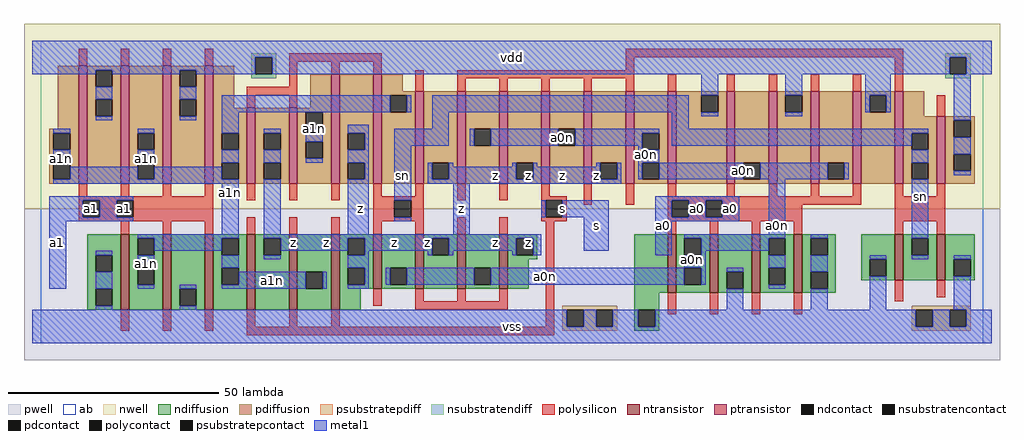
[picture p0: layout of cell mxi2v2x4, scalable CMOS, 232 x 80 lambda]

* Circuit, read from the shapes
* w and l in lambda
.subckt mxi2v2x4 a0 a0n a1 a1n s sn vdd vss z
M1 a1n a1 vss vss nfet w=18 l=2 m=3
M2 z s a1n vss nfet w=18 l=2 m=3
M3 a0n sn z vss nfet w=13 l=2 m=4
M4 a0n a0 vss vss nfet w=14 l=2 m=4
M5 sn s vss vss nfet w=11 l=2 m=2
M6 vdd a1 a1n vdd pfet w=28 l=2 m=4
M7 z sn a1n vdd pfet w=18 l=2 m=2
M8 z sn a1n vdd pfet w=26 l=2 m=2
M9 z sn a1n vdd pfet w=22 l=2
M10 a0n s z vdd pfet w=22 l=2 m=5
M11 vdd a0 a0n vdd pfet w=22 l=2 m=5
M12 sn s vdd vdd pfet w=22 l=2
M13 vdd s sn vdd pfet w=16 l=2
.ends

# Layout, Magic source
magic
tech scmos
<< ab >>
rect 0 0 224 72
<< pwell >>
rect -4 -4 228 32
<< nwell >>
rect -4 32 228 76
<< polysilicon >>
rect 9 66 11 70
rect 19 66 21 70
rect 29 66 31 70
rect 39 66 41 70
rect 59 67 81 69
rect 59 61 61 67
rect 69 64 71 67
rect 79 64 81 67
rect 139 68 205 70
rect 139 65 141 68
rect 49 59 61 61
rect 49 56 51 59
rect 59 56 61 59
rect 89 60 91 65
rect 99 63 141 65
rect 99 60 101 63
rect 109 60 111 63
rect 119 60 121 63
rect 129 60 131 63
rect 139 60 141 63
rect 149 60 151 64
rect 163 60 165 64
rect 173 60 175 64
rect 183 60 185 64
rect 193 60 195 64
rect 203 60 205 68
rect 213 54 215 59
rect 9 35 11 38
rect 19 35 21 38
rect 29 35 31 38
rect 39 35 41 38
rect 9 34 41 35
rect 49 34 51 38
rect 59 34 61 38
rect 69 34 71 38
rect 79 35 81 38
rect 89 35 91 38
rect 79 34 91 35
rect 99 34 101 38
rect 109 34 111 38
rect 119 35 121 38
rect 119 34 125 35
rect 9 30 10 34
rect 14 30 18 34
rect 22 30 41 34
rect 79 30 84 34
rect 88 30 91 34
rect 119 30 120 34
rect 124 30 125 34
rect 129 33 131 38
rect 139 33 141 38
rect 149 35 151 38
rect 163 35 165 38
rect 173 35 175 38
rect 183 35 185 38
rect 193 35 195 38
rect 149 34 195 35
rect 9 29 41 30
rect 19 26 21 29
rect 29 26 31 29
rect 39 26 41 29
rect 49 26 51 30
rect 59 26 61 30
rect 69 26 71 30
rect 79 29 91 30
rect 79 26 81 29
rect 89 26 91 29
rect 99 26 101 30
rect 109 26 111 30
rect 119 29 125 30
rect 149 30 150 34
rect 154 30 158 34
rect 162 33 195 34
rect 203 35 205 38
rect 213 35 215 38
rect 162 30 181 33
rect 149 29 181 30
rect 79 9 81 13
rect 89 10 91 13
rect 99 10 101 13
rect 109 10 111 13
rect 89 8 111 10
rect 19 3 21 8
rect 29 3 31 8
rect 39 3 41 8
rect 49 4 51 8
rect 59 4 61 8
rect 69 4 71 8
rect 120 4 122 29
rect 149 26 151 29
rect 159 26 161 29
rect 169 26 171 29
rect 179 26 181 29
rect 203 29 215 35
rect 203 26 205 29
rect 213 26 215 29
rect 49 2 122 4
rect 149 7 151 12
rect 159 7 161 12
rect 169 7 171 12
rect 179 7 181 12
rect 203 10 205 15
rect 213 11 215 15
<< ndiffusion >>
rect 11 21 19 26
rect 11 17 13 21
rect 17 17 19 21
rect 11 13 19 17
rect 11 9 13 13
rect 17 9 19 13
rect 11 8 19 9
rect 21 25 29 26
rect 21 21 23 25
rect 27 21 29 25
rect 21 18 29 21
rect 21 14 23 18
rect 27 14 29 18
rect 21 8 29 14
rect 31 13 39 26
rect 31 9 33 13
rect 37 9 39 13
rect 31 8 39 9
rect 41 25 49 26
rect 41 21 43 25
rect 47 21 49 25
rect 41 18 49 21
rect 41 14 43 18
rect 47 14 49 18
rect 41 8 49 14
rect 51 25 59 26
rect 51 21 53 25
rect 57 21 59 25
rect 51 8 59 21
rect 61 17 69 26
rect 61 13 63 17
rect 67 13 69 17
rect 61 8 69 13
rect 71 25 79 26
rect 71 21 73 25
rect 77 21 79 25
rect 71 18 79 21
rect 71 14 73 18
rect 77 14 79 18
rect 71 13 79 14
rect 81 18 89 26
rect 81 14 83 18
rect 87 14 89 18
rect 81 13 89 14
rect 91 25 99 26
rect 91 21 93 25
rect 97 21 99 25
rect 91 13 99 21
rect 101 18 109 26
rect 101 14 103 18
rect 107 14 109 18
rect 101 13 109 14
rect 111 25 118 26
rect 111 21 113 25
rect 117 21 118 25
rect 111 20 118 21
rect 111 13 116 20
rect 71 8 76 13
rect 141 12 149 26
rect 151 25 159 26
rect 151 21 153 25
rect 157 21 159 25
rect 151 18 159 21
rect 151 14 153 18
rect 157 14 159 18
rect 151 12 159 14
rect 161 17 169 26
rect 161 13 163 17
rect 167 13 169 17
rect 161 12 169 13
rect 171 25 179 26
rect 171 21 173 25
rect 177 21 179 25
rect 171 18 179 21
rect 171 14 173 18
rect 177 14 179 18
rect 171 12 179 14
rect 181 25 189 26
rect 181 21 183 25
rect 187 21 189 25
rect 181 17 189 21
rect 181 13 183 17
rect 187 13 189 17
rect 195 20 203 26
rect 195 16 197 20
rect 201 16 203 20
rect 195 15 203 16
rect 205 25 213 26
rect 205 21 207 25
rect 211 21 213 25
rect 205 15 213 21
rect 215 20 222 26
rect 215 16 217 20
rect 221 16 222 20
rect 215 15 222 16
rect 181 12 189 13
rect 141 8 147 12
rect 141 4 142 8
rect 146 4 147 8
rect 141 3 147 4
<< pdiffusion >>
rect 4 51 9 66
rect 2 50 9 51
rect 2 46 3 50
rect 7 46 9 50
rect 2 43 9 46
rect 2 39 3 43
rect 7 39 9 43
rect 2 38 9 39
rect 11 65 19 66
rect 11 61 13 65
rect 17 61 19 65
rect 11 58 19 61
rect 11 54 13 58
rect 17 54 19 58
rect 11 38 19 54
rect 21 50 29 66
rect 21 46 23 50
rect 27 46 29 50
rect 21 43 29 46
rect 21 39 23 43
rect 27 39 29 43
rect 21 38 29 39
rect 31 65 39 66
rect 31 61 33 65
rect 37 61 39 65
rect 31 58 39 61
rect 31 54 33 58
rect 37 54 39 58
rect 31 38 39 54
rect 41 56 46 66
rect 64 56 69 64
rect 41 50 49 56
rect 41 46 43 50
rect 47 46 49 50
rect 41 43 49 46
rect 41 39 43 43
rect 47 39 49 43
rect 41 38 49 39
rect 51 50 59 56
rect 51 46 53 50
rect 57 46 59 50
rect 51 43 59 46
rect 51 39 53 43
rect 57 39 59 43
rect 51 38 59 39
rect 61 55 69 56
rect 61 51 63 55
rect 67 51 69 55
rect 61 48 69 51
rect 61 44 63 48
rect 67 44 69 48
rect 61 38 69 44
rect 71 50 79 64
rect 71 46 73 50
rect 77 46 79 50
rect 71 43 79 46
rect 71 39 73 43
rect 77 39 79 43
rect 71 38 79 39
rect 81 60 86 64
rect 81 59 89 60
rect 81 55 83 59
rect 87 55 89 59
rect 81 38 89 55
rect 91 43 99 60
rect 91 39 93 43
rect 97 39 99 43
rect 91 38 99 39
rect 101 51 109 60
rect 101 47 103 51
rect 107 47 109 51
rect 101 38 109 47
rect 111 43 119 60
rect 111 39 113 43
rect 117 39 119 43
rect 111 38 119 39
rect 121 51 129 60
rect 121 47 123 51
rect 127 47 129 51
rect 121 38 129 47
rect 131 43 139 60
rect 131 39 133 43
rect 137 39 139 43
rect 131 38 139 39
rect 141 50 149 60
rect 141 46 143 50
rect 147 46 149 50
rect 141 43 149 46
rect 141 39 143 43
rect 147 39 149 43
rect 141 38 149 39
rect 151 59 163 60
rect 151 55 157 59
rect 161 55 163 59
rect 151 38 163 55
rect 165 43 173 60
rect 165 39 167 43
rect 171 39 173 43
rect 165 38 173 39
rect 175 59 183 60
rect 175 55 177 59
rect 181 55 183 59
rect 175 38 183 55
rect 185 43 193 60
rect 185 39 187 43
rect 191 39 193 43
rect 185 38 193 39
rect 195 59 203 60
rect 195 55 197 59
rect 201 55 203 59
rect 195 38 203 55
rect 205 54 210 60
rect 205 50 213 54
rect 205 46 207 50
rect 211 46 213 50
rect 205 43 213 46
rect 205 39 207 43
rect 211 39 213 43
rect 205 38 213 39
rect 215 53 222 54
rect 215 49 217 53
rect 221 49 222 53
rect 215 45 222 49
rect 215 41 217 45
rect 221 41 222 45
rect 215 38 222 41
<< metal1 >>
rect -2 68 226 72
rect -2 65 51 68
rect -2 64 13 65
rect 17 64 33 65
rect 13 58 17 61
rect 13 53 17 54
rect 37 64 51 65
rect 55 64 216 68
rect 220 64 226 68
rect 33 58 37 61
rect 157 59 161 64
rect 33 53 37 54
rect 43 55 83 59
rect 87 55 88 59
rect 93 55 154 59
rect 3 50 7 51
rect 3 43 7 46
rect 23 50 27 51
rect 23 43 27 46
rect 7 39 23 42
rect 43 50 47 55
rect 43 43 47 46
rect 27 39 43 42
rect 3 38 47 39
rect 2 34 22 35
rect 2 30 10 34
rect 14 30 18 34
rect 2 29 22 30
rect 2 13 6 29
rect 43 26 47 38
rect 23 25 47 26
rect 13 21 17 22
rect 13 13 17 17
rect 27 22 43 25
rect 23 18 27 21
rect 43 18 47 21
rect 53 50 57 51
rect 53 43 57 46
rect 63 48 67 51
rect 63 43 67 44
rect 73 50 78 52
rect 93 51 97 55
rect 150 51 154 55
rect 157 54 161 55
rect 177 59 181 64
rect 196 59 202 64
rect 196 55 197 59
rect 201 55 202 59
rect 177 54 181 55
rect 217 53 221 64
rect 77 46 78 50
rect 73 43 78 46
rect 53 26 57 39
rect 77 39 78 43
rect 73 26 78 39
rect 84 47 97 51
rect 102 47 103 51
rect 107 47 123 51
rect 127 50 147 51
rect 127 47 143 50
rect 84 34 88 47
rect 142 46 143 47
rect 150 50 211 51
rect 150 47 207 50
rect 142 43 147 46
rect 207 43 211 46
rect 92 39 93 43
rect 97 42 98 43
rect 112 42 113 43
rect 97 39 113 42
rect 117 42 118 43
rect 132 42 133 43
rect 117 39 133 42
rect 137 39 138 43
rect 142 39 143 43
rect 147 39 167 43
rect 171 39 187 43
rect 191 39 192 43
rect 217 45 221 49
rect 217 40 221 41
rect 92 38 138 39
rect 84 29 88 30
rect 98 26 102 38
rect 146 34 166 35
rect 119 30 120 34
rect 124 30 135 34
rect 53 25 119 26
rect 57 22 73 25
rect 53 20 57 21
rect 77 22 93 25
rect 77 21 78 22
rect 92 21 93 22
rect 97 22 113 25
rect 97 21 98 22
rect 112 21 113 22
rect 117 21 119 25
rect 129 22 135 30
rect 146 30 150 34
rect 154 30 158 34
rect 162 30 166 34
rect 146 29 166 30
rect 146 21 150 29
rect 173 26 177 39
rect 153 25 177 26
rect 157 22 173 25
rect 157 21 158 22
rect 73 18 78 21
rect 153 18 158 21
rect 173 18 177 21
rect 47 14 63 17
rect 23 13 27 14
rect 33 13 37 14
rect 43 13 63 14
rect 67 13 68 17
rect 77 14 78 18
rect 82 14 83 18
rect 87 14 103 18
rect 107 14 153 18
rect 157 14 158 18
rect 163 17 167 18
rect 73 13 78 14
rect 173 13 177 14
rect 183 25 187 26
rect 207 25 211 39
rect 183 17 187 21
rect 13 8 17 9
rect 33 8 37 9
rect 163 8 167 13
rect 183 8 187 13
rect 197 20 201 21
rect 207 20 211 21
rect 217 20 221 21
rect 197 8 201 16
rect 217 8 221 16
rect -2 4 125 8
rect 129 4 132 8
rect 136 4 142 8
rect 146 4 208 8
rect 212 4 216 8
rect 220 4 226 8
rect -2 0 226 4
<< ntransistor >>
rect 19 8 21 26
rect 29 8 31 26
rect 39 8 41 26
rect 49 8 51 26
rect 59 8 61 26
rect 69 8 71 26
rect 79 13 81 26
rect 89 13 91 26
rect 99 13 101 26
rect 109 13 111 26
rect 149 12 151 26
rect 159 12 161 26
rect 169 12 171 26
rect 179 12 181 26
rect 203 15 205 26
rect 213 15 215 26
<< ptransistor >>
rect 9 38 11 66
rect 19 38 21 66
rect 29 38 31 66
rect 39 38 41 66
rect 49 38 51 56
rect 59 38 61 56
rect 69 38 71 64
rect 79 38 81 64
rect 89 38 91 60
rect 99 38 101 60
rect 109 38 111 60
rect 119 38 121 60
rect 129 38 131 60
rect 139 38 141 60
rect 149 38 151 60
rect 163 38 165 60
rect 173 38 175 60
rect 183 38 185 60
rect 193 38 195 60
rect 203 38 205 60
rect 213 38 215 54
<< polycontact >>
rect 10 30 14 34
rect 18 30 22 34
rect 84 30 88 34
rect 120 30 124 34
rect 150 30 154 34
rect 158 30 162 34
<< ndcontact >>
rect 13 17 17 21
rect 13 9 17 13
rect 23 21 27 25
rect 23 14 27 18
rect 33 9 37 13
rect 43 21 47 25
rect 43 14 47 18
rect 53 21 57 25
rect 63 13 67 17
rect 73 21 77 25
rect 73 14 77 18
rect 83 14 87 18
rect 93 21 97 25
rect 103 14 107 18
rect 113 21 117 25
rect 153 21 157 25
rect 153 14 157 18
rect 163 13 167 17
rect 173 21 177 25
rect 173 14 177 18
rect 183 21 187 25
rect 183 13 187 17
rect 197 16 201 20
rect 207 21 211 25
rect 217 16 221 20
rect 142 4 146 8
<< pdcontact >>
rect 3 46 7 50
rect 3 39 7 43
rect 13 61 17 65
rect 13 54 17 58
rect 23 46 27 50
rect 23 39 27 43
rect 33 61 37 65
rect 33 54 37 58
rect 43 46 47 50
rect 43 39 47 43
rect 53 46 57 50
rect 53 39 57 43
rect 63 51 67 55
rect 63 44 67 48
rect 73 46 77 50
rect 73 39 77 43
rect 83 55 87 59
rect 93 39 97 43
rect 103 47 107 51
rect 113 39 117 43
rect 123 47 127 51
rect 133 39 137 43
rect 143 46 147 50
rect 143 39 147 43
rect 157 55 161 59
rect 167 39 171 43
rect 177 55 181 59
rect 187 39 191 43
rect 197 55 201 59
rect 207 46 211 50
rect 207 39 211 43
rect 217 49 221 53
rect 217 41 221 45
<< psubstratepcontact >>
rect 125 4 129 8
rect 132 4 136 8
rect 208 4 212 8
rect 216 4 220 8
<< nsubstratencontact >>
rect 51 64 55 68
rect 216 64 220 68
<< psubstratepdiff >>
rect 124 8 137 9
rect 124 4 125 8
rect 129 4 132 8
rect 136 4 137 8
rect 124 3 137 4
rect 207 8 221 9
rect 207 4 208 8
rect 212 4 216 8
rect 220 4 221 8
rect 207 3 221 4
<< nsubstratendiff >>
rect 50 68 56 69
rect 50 64 51 68
rect 55 64 56 68
rect 50 63 56 64
rect 215 68 221 69
rect 215 64 216 68
rect 220 64 221 68
rect 215 63 221 64
<< labels >>
rlabel metal1 25 19 25 19 6 a1n
rlabel metal1 4 24 4 24 6 a1
rlabel polycontact 12 32 12 32 6 a1
rlabel polycontact 20 32 20 32 6 a1
rlabel metal1 5 44 5 44 6 a1n
rlabel metal1 25 44 25 44 6 a1n
rlabel metal1 55 15 55 15 6 a1n
rlabel metal1 60 24 60 24 6 z
rlabel metal1 68 24 68 24 6 z
rlabel metal1 84 24 84 24 6 z
rlabel metal1 76 32 76 32 6 z
rlabel metal1 86 40 86 40 6 sn
rlabel metal1 45 36 45 36 6 a1n
rlabel metal1 65 51 65 51 6 a1n
rlabel metal1 112 4 112 4 6 vss
rlabel metal1 92 24 92 24 6 z
rlabel metal1 108 24 108 24 6 z
rlabel ndcontact 116 24 116 24 6 z
rlabel metal1 100 32 100 32 6 z
rlabel metal1 124 32 124 32 6 s
rlabel metal1 132 28 132 28 6 s
rlabel metal1 108 40 108 40 6 z
rlabel pdcontact 116 40 116 40 6 z
rlabel metal1 124 40 124 40 6 z
rlabel metal1 132 40 132 40 6 z
rlabel metal1 112 68 112 68 6 vdd
rlabel metal1 155 20 155 20 6 a0n
rlabel metal1 120 16 120 16 6 a0n
rlabel metal1 164 32 164 32 6 a0
rlabel metal1 156 32 156 32 6 a0
rlabel metal1 148 28 148 28 6 a0
rlabel metal1 144 45 144 45 6 a0n
rlabel metal1 175 28 175 28 6 a0n
rlabel pdcontact 124 49 124 49 6 a0n
rlabel metal1 167 41 167 41 6 a0n
rlabel metal1 209 35 209 35 6 sn
<< end >>
